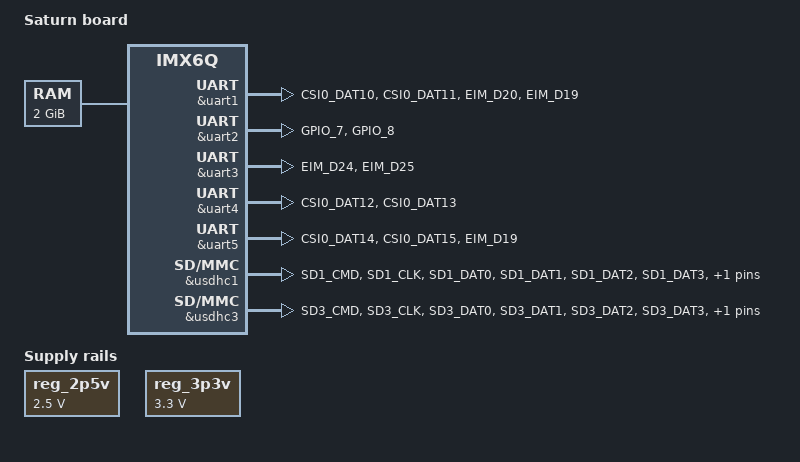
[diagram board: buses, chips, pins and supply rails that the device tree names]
/dts-v1/;
#include "imx6q.dtsi"
#include <dt-bindings/gpio/gpio.h>

/ {
	model = "Saturn board";
	compatible = "wand,imx6q-wandboard", "fsl,imx6q";

	memory {
		reg = <0x10000000 0x80000000>;
	};

        regulators {
		compatible = "simple-bus";
		#address-cells = <1>;
		#size-cells = <0>;

		reg_2p5v: regulator@0 {
			compatible = "regulator-fixed";
			reg = <0>;
			regulator-name = "2P5V";
			regulator-min-microvolt = <2500000>;
			regulator-max-microvolt = <2500000>;
			regulator-always-on;
		};

		reg_3p3v: regulator@1 {
			compatible = "regulator-fixed";
			reg = <1>;
			regulator-name = "3P3V";
			regulator-min-microvolt = <3300000>;
			regulator-max-microvolt = <3300000>;
			regulator-always-on;
		};
	};


	&iomuxc {
		pinctrl-names = "default";
	
		imx6qdl-wandboard {
	
	        pinctrl_uart1: uart1grp {
				fsl,pins = <
					MX6QDL_PAD_CSI0_DAT10__UART1_TX_DATA	0x1b0b1
					MX6QDL_PAD_CSI0_DAT11__UART1_RX_DATA	0x1b0b1
					MX6QDL_PAD_EIM_D20__UART1_RTS_B			0x1b0b1
					MX6QDL_PAD_EIM_D19__UART1_CTS_B			0x1b0b1
				>;
			};
			
			pinctrl_uart2: uart2grp {
				fsl,pins = <
					MX6QDL_PAD_GPIO_7__UART2_TX_DATA	    0x1b0b1
					MX6QDL_PAD_GPIO_8__UART2_RX_DATA		0x1b0b1
				>;
			};
			
			pinctrl_uart3: uart3grp {
				fsl,pins = <
					MX6QDL_PAD_EIM_D24__UART3_TX_DATA	0x1b0b1
					MX6QDL_PAD_EIM_D25__UART3_RX_DATA	0x1b0b1
				>;
			};
			
			pinctrl_uart4: uart4grp {
				fsl,pins = <
					MX6QDL_PAD_CSI0_DAT12__UART4_TX_DATA	0x1b0b1
					MX6QDL_PAD_CSI0_DAT13__UART4_RX_DATA	0x1b0b1
				>;
			};
			
			pinctrl_uart5: uart5grp {
				fsl,pins = <
					MX6QDL_PAD_CSI0_DAT14__UART5_TX_DATA	0x1b0b1
					MX6QDL_PAD_CSI0_DAT15__UART5_RX_DATA	0x1b0b1
					MX6QDL_PAD_EIM_D19__UART1_CTS_B			0x1b0b1
				>;
			};
	
			pinctrl_usbotg: usbotggrp {
				fsl,pins = <
					MX6QDL_PAD_GPIO_1__USB_OTG_ID		0x17059
				>;
			};
	
			pinctrl_usdhc1: usdhc1grp {
				fsl,pins = <
					MX6QDL_PAD_SD1_CMD__SD1_CMD		0x17059
					MX6QDL_PAD_SD1_CLK__SD1_CLK		0x10059
					MX6QDL_PAD_SD1_DAT0__SD1_DATA0		0x17059
					MX6QDL_PAD_SD1_DAT1__SD1_DATA1		0x17059
					MX6QDL_PAD_SD1_DAT2__SD1_DATA2		0x17059
					MX6QDL_PAD_SD1_DAT3__SD1_DATA3		0x17059
				>;
			};
	
			pinctrl_usdhc3: usdhc3grp {
				fsl,pins = <
					MX6QDL_PAD_SD3_CMD__SD3_CMD		0x17059
					MX6QDL_PAD_SD3_CLK__SD3_CLK		0x10059
					MX6QDL_PAD_SD3_DAT0__SD3_DATA0		0x17059
					MX6QDL_PAD_SD3_DAT1__SD3_DATA1		0x17059
					MX6QDL_PAD_SD3_DAT2__SD3_DATA2		0x17059
					MX6QDL_PAD_SD3_DAT3__SD3_DATA3		0x17059
				>;
			};
		};
	};
	
	
	
	&uart1 {
		pinctrl-names = "default";
		pinctrl-0 = <&pinctrl_uart1>;
		status = "okay";
	};
	
	&uart2 {
		pinctrl-names = "default";
		pinctrl-0 = <&pinctrl_uart2>;
		status = "okay";
	};
	
	&uart3 {
		pinctrl-names = "default";
		pinctrl-0 = <&pinctrl_uart3>;
		status = "okay";
	};
	
	&uart4 {
		pinctrl-names = "default";
		pinctrl-0 = <&pinctrl_uart4>;
		status = "okay";
	};
	
	&uart5 {
		pinctrl-names = "default";
		pinctrl-0 = <&pinctrl_uart5>;
		status = "okay";
	};
	
	
	&usdhc1 {
		pinctrl-names = "default";
		pinctrl-0 = <&pinctrl_usdhc1>;
		cd-gpios = <&gpio1 2 GPIO_ACTIVE_LOW>;
		status = "okay";
	};
	
	&usdhc3 {
		pinctrl-names = "default";
		pinctrl-0 = <&pinctrl_usdhc3>;
		cd-gpios = <&gpio3 9 GPIO_ACTIVE_LOW>;
		status = "okay";
	};

};


